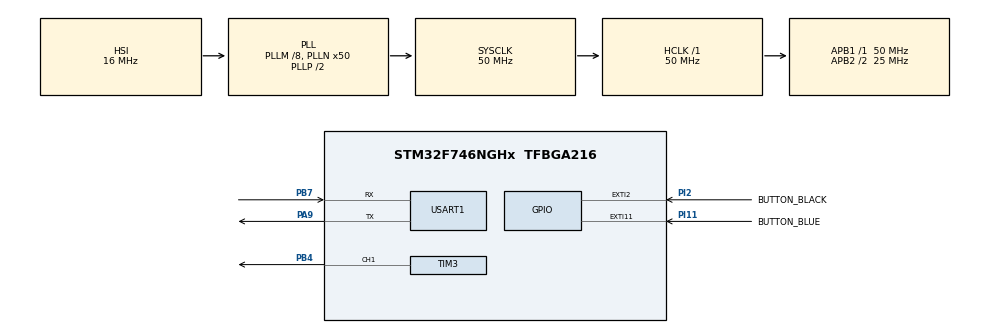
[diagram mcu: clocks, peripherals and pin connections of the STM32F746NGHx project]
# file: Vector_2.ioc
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FREERTOS.Mutexes01=Vector,Dynamic,NULL
FREERTOS.Tasks01=defaultTask,0,512,StartDefaultTask,Default,NULL,Dynamic,NULL,NULL;Printer,0,512,StartPrinter,Default,NULL,Dynamic,NULL,NULL;PushBack,0,512,StartPushBack,Default,NULL,Dynamic,NULL,NULL;PopBack,0,512,StartPopBack,Default,NULL,Dynamic,NULL,NULL;EraseTask,0,512,StartEraseTask,Default,NULL,Dynamic,NULL,NULL;Average,0,512,StartAverage,Default,NULL,Dynamic,NULL,NULL
Mcu.Family=STM32F7
Mcu.Name=STM32F746NGHx
Mcu.Package=TFBGA216
NVIC.EXTI15_10_IRQn=true\:6\:0\:true\:false\:true\:false\:true\:true
NVIC.EXTI2_IRQn=true\:6\:0\:true\:false\:true\:false\:true\:true
NVIC.PriorityGroup=NVIC_PRIORITYGROUP_4
NVIC.TIM5_IRQn=true\:6\:0\:true\:false\:true\:true\:true\:true
NVIC.TIM8_TRG_COM_TIM14_IRQn=true\:0\:0\:false\:false\:true\:false\:false\:true
NVIC.TimeBase=TIM8_TRG_COM_TIM14_IRQn
NVIC.TimeBaseIP=TIM14
PA13.Mode=Serial_Wire
PA13.Signal=SYS_JTMS-SWDIO
PA14.Mode=Serial_Wire
PA14.Signal=SYS_JTCK-SWCLK
PA9.Mode=Asynchronous
PA9.Signal=USART1_TX
PB4.Signal=S_TIM3_CH1
PB7.Mode=Asynchronous
PB7.Signal=USART1_RX
PC14/OSC32_IN.Mode=LSE-External-Clock-Source
PC14/OSC32_IN.Signal=RCC_OSC32_IN
PC15/OSC32_OUT.Mode=LSE-External-Clock-Source
PC15/OSC32_OUT.Signal=RCC_OSC32_OUT
PH0/OSC_IN.Mode=HSE-External-Oscillator
PH0/OSC_IN.Signal=RCC_OSC_IN
PH1/OSC_OUT.Mode=HSE-External-Oscillator
PH1/OSC_OUT.Signal=RCC_OSC_OUT
PI11.GPIO_Label=BUTTON_BLUE
PI11.GPIO_PuPd=GPIO_PULLDOWN
PI11.Signal=GPXTI11
PI2.GPIO_Label=BUTTON_BLACK
PI2.GPIO_ModeDefaultEXTI=GPIO_MODE_IT_RISING_FALLING
PI2.GPIO_PuPd=GPIO_PULLDOWN
PI2.Signal=GPXTI2
ProjectManager.HeapSize=0x200
ProjectManager.StackSize=0x400
ProjectManager.TargetToolchain=STM32CubeIDE
RCC.AHBFreq_Value=50000000
RCC.APB1Freq_Value=50000000
RCC.APB1TimFreq_Value=50000000
RCC.APB2CLKDivider=RCC_HCLK_DIV2
RCC.APB2Freq_Value=25000000
RCC.APB2TimFreq_Value=50000000
RCC.CortexFreq_Value=50000000
RCC.HCLKFreq_Value=50000000
RCC.HSE_VALUE=25000000
RCC.HSI_VALUE=16000000
RCC.LSE_VALUE=32768
RCC.PLLM=8
RCC.PLLN=50
RCC.PLLQ=3
RCC.PLLSourceVirtual=RCC_PLLSOURCE_HSI
RCC.SYSCLKFreq_VALUE=50000000
RCC.SYSCLKSource=RCC_SYSCLKSOURCE_PLLCLK
RCC.USBFreq_Value=33333333.333333332
RCC.VCOOutputFreq_Value=100000000
SH.S_TIM3_CH1.0=TIM3_CH1,PWM Generation1 CH1
TIM3.Channel-PWM\ Generation1\ CH1=TIM_CHANNEL_1
TIM3.Period=100
TIM3.Prescaler=500
TIM3.Pulse-PWM\ Generation1\ CH1=50
TIM5.Period=1000
TIM5.Prescaler=50000-1
USART1.VirtualMode-Asynchronous=VM_ASYNC
VP_FREERTOS_VS_CMSIS_V1.Mode=CMSIS_V1
VP_RNG_VS_RNG.Mode=RNG_Activate
VP_SYS_VS_tim14.Mode=TIM14
VP_TIM3_VS_ClockSourceINT.Mode=Internal
VP_TIM5_VS_ClockSourceINT.Mode=Internal
board=STM32F746G-DISCO

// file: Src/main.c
/* USER CODE BEGIN Header */
/**
 ******************************************************************************
 * @file           : main.c
 * @brief          : Main program body
 ******************************************************************************
 * @attention
 *
 * <h2><center>&copy; Copyright (c) 2019 STMicroelectronics.
 * All rights reserved.</center></h2>
 *
 * This software component is licensed by ST under BSD 3-Clause license,
 * the "License"; You may not use this file except in compliance with the
 * License. You may obtain a copy of the License at:
 *                        opensource.org/licenses/BSD-3-Clause
 *
 ******************************************************************************
 */
/* USER CODE END Header */

#include "main.h"
#include "cmsis_os.h"

/* USER CODE BEGIN Includes */
#include "vector.h"

/* USER CODE END Includes */

RNG_HandleTypeDef hrng;

TIM_HandleTypeDef htim3;
TIM_HandleTypeDef htim5;

UART_HandleTypeDef huart1;

osThreadId defaultTaskHandle;
osThreadId PrinterHandle;
osThreadId PushBackHandle;
osThreadId PopBackHandle;
osThreadId EraseTaskHandle;
osThreadId AverageHandle;
osMutexId VectorHandle;
/* USER CODE BEGIN PV */
vector_t vector;

int prev_start_time;

uint8_t prog_state = 0;

int time_counter = 0;

/* USER CODE END PV */

void SystemClock_Config(void);
static void MX_GPIO_Init(void);
static void MX_RNG_Init(void);
static void MX_USART1_UART_Init(void);
static void MX_TIM5_Init(void);
static void MX_TIM3_Init(void);
void StartDefaultTask(void const * argument);
void StartPrinter(void const * argument);
void StartPushBack(void const * argument);
void StartPopBack(void const * argument);
void StartEraseTask(void const * argument);
void StartAverage(void const * argument);

int main(void)
{
  /* USER CODE BEGIN 1 */
	init(&vector);

  /* USER CODE END 1 */

  /* MCU Configuration--------------------------------------------------------*/

  /* Reset of all peripherals, Initializes the Flash interface and the Systick. */
  HAL_Init();

  /* Configure the system clock */
  SystemClock_Config();

  /* Initialize all configured peripherals */
  MX_GPIO_Init();
  MX_RNG_Init();
  MX_USART1_UART_Init();
  MX_TIM5_Init();
  MX_TIM3_Init();
  /* USER CODE BEGIN 2 */
	HAL_TIM_Base_Start_IT(&htim5);
HAL_TIM_PWM_Start_IT(&htim3, TIM_CHANNEL_1);

  /* USER CODE END 2 */

  /* Create the mutex(es) */
  /* definition and creation of Vector */
  osMutexDef(Vector);
  VectorHandle = osMutexCreate(osMutex(Vector));

  /* Create the thread(s) */
  /* definition and creation of defaultTask */
  osThreadDef(defaultTask, StartDefaultTask, osPriorityNormal, 0, 512);
  defaultTaskHandle = osThreadCreate(osThread(defaultTask), NULL);

  /* definition and creation of Printer */
  osThreadDef(Printer, StartPrinter, osPriorityNormal, 0, 512);
  PrinterHandle = osThreadCreate(osThread(Printer), NULL);

  /* definition and creation of PushBack */
  osThreadDef(PushBack, StartPushBack, osPriorityNormal, 0, 512);
  PushBackHandle = osThreadCreate(osThread(PushBack), NULL);

  /* definition and creation of PopBack */
  osThreadDef(PopBack, StartPopBack, osPriorityNormal, 0, 512);
  PopBackHandle = osThreadCreate(osThread(PopBack), NULL);

  /* definition and creation of EraseTask */
  osThreadDef(EraseTask, StartEraseTask, osPriorityNormal, 0, 512);
  EraseTaskHandle = osThreadCreate(osThread(EraseTask), NULL);

  /* definition and creation of Average */
  osThreadDef(Average, StartAverage, osPriorityNormal, 0, 512);
  AverageHandle = osThreadCreate(osThread(Average), NULL);

  /* Start scheduler */
  osKernelStart();

  /* We should never get here as control is now taken by the scheduler */

  /* Infinite loop */
	while (1) {

	}
}

void SystemClock_Config(void)
{
  RCC_OscInitTypeDef RCC_OscInitStruct = {0};
  RCC_ClkInitTypeDef RCC_ClkInitStruct = {0};
  RCC_PeriphCLKInitTypeDef PeriphClkInitStruct = {0};

  /** Configure the main internal regulator output voltage
  */
  __HAL_RCC_PWR_CLK_ENABLE();
  __HAL_PWR_VOLTAGESCALING_CONFIG(PWR_REGULATOR_VOLTAGE_SCALE3);
  /** Initializes the CPU, AHB and APB busses clocks
  */
  RCC_OscInitStruct.OscillatorType = RCC_OSCILLATORTYPE_HSI;
  RCC_OscInitStruct.HSIState = RCC_HSI_ON;
  RCC_OscInitStruct.HSICalibrationValue = RCC_HSICALIBRATION_DEFAULT;
  RCC_OscInitStruct.PLL.PLLState = RCC_PLL_ON;
  RCC_OscInitStruct.PLL.PLLSource = RCC_PLLSOURCE_HSI;
  RCC_OscInitStruct.PLL.PLLM = 8;
  RCC_OscInitStruct.PLL.PLLN = 50;
  RCC_OscInitStruct.PLL.PLLP = RCC_PLLP_DIV2;
  RCC_OscInitStruct.PLL.PLLQ = 3;
  if (HAL_RCC_OscConfig(&RCC_OscInitStruct) != HAL_OK)
  {
    Error_Handler();
  }
  /** Activate the Over-Drive mode
  */
  if (HAL_PWREx_EnableOverDrive() != HAL_OK)
  {
    Error_Handler();
  }
  /** Initializes the CPU, AHB and APB busses clocks
  */
  RCC_ClkInitStruct.ClockType = RCC_CLOCKTYPE_HCLK|RCC_CLOCKTYPE_SYSCLK
                              |RCC_CLOCKTYPE_PCLK1|RCC_CLOCKTYPE_PCLK2;
  RCC_ClkInitStruct.SYSCLKSource = RCC_SYSCLKSOURCE_PLLCLK;
  RCC_ClkInitStruct.AHBCLKDivider = RCC_SYSCLK_DIV1;
  RCC_ClkInitStruct.APB1CLKDivider = RCC_HCLK_DIV1;
  RCC_ClkInitStruct.APB2CLKDivider = RCC_HCLK_DIV2;

  if (HAL_RCC_ClockConfig(&RCC_ClkInitStruct, FLASH_LATENCY_1) != HAL_OK)
  {
    Error_Handler();
  }
  PeriphClkInitStruct.PeriphClockSelection = RCC_PERIPHCLK_USART1|RCC_PERIPHCLK_CLK48;
  PeriphClkInitStruct.Usart1ClockSelection = RCC_USART1CLKSOURCE_PCLK2;
  PeriphClkInitStruct.Clk48ClockSelection = RCC_CLK48SOURCE_PLL;
  if (HAL_RCCEx_PeriphCLKConfig(&PeriphClkInitStruct) != HAL_OK)
  {
    Error_Handler();
  }
}

static void MX_RNG_Init(void)
{

  hrng.Instance = RNG;
  if (HAL_RNG_Init(&hrng) != HAL_OK)
  {
    Error_Handler();
  }

}

static void MX_TIM3_Init(void)
{

  TIM_ClockConfigTypeDef sClockSourceConfig = {0};
  TIM_MasterConfigTypeDef sMasterConfig = {0};
  TIM_OC_InitTypeDef sConfigOC = {0};

  htim3.Instance = TIM3;
  htim3.Init.Prescaler = 500;
  htim3.Init.CounterMode = TIM_COUNTERMODE_UP;
  htim3.Init.Period = 100;
  htim3.Init.ClockDivision = TIM_CLOCKDIVISION_DIV1;
  htim3.Init.AutoReloadPreload = TIM_AUTORELOAD_PRELOAD_DISABLE;
  if (HAL_TIM_Base_Init(&htim3) != HAL_OK)
  {
    Error_Handler();
  }
  sClockSourceConfig.ClockSource = TIM_CLOCKSOURCE_INTERNAL;
  if (HAL_TIM_ConfigClockSource(&htim3, &sClockSourceConfig) != HAL_OK)
  {
    Error_Handler();
  }
  if (HAL_TIM_PWM_Init(&htim3) != HAL_OK)
  {
    Error_Handler();
  }
  sMasterConfig.MasterOutputTrigger = TIM_TRGO_RESET;
  sMasterConfig.MasterSlaveMode = TIM_MASTERSLAVEMODE_DISABLE;
  if (HAL_TIMEx_MasterConfigSynchronization(&htim3, &sMasterConfig) != HAL_OK)
  {
    Error_Handler();
  }
  sConfigOC.OCMode = TIM_OCMODE_PWM1;
  sConfigOC.Pulse = 50;
  sConfigOC.OCPolarity = TIM_OCPOLARITY_HIGH;
  sConfigOC.OCFastMode = TIM_OCFAST_DISABLE;
  if (HAL_TIM_PWM_ConfigChannel(&htim3, &sConfigOC, TIM_CHANNEL_1) != HAL_OK)
  {
    Error_Handler();
  }
  HAL_TIM_MspPostInit(&htim3);

}

static void MX_TIM5_Init(void)
{

  TIM_ClockConfigTypeDef sClockSourceConfig = {0};
  TIM_MasterConfigTypeDef sMasterConfig = {0};

  htim5.Instance = TIM5;
  htim5.Init.Prescaler = 50000-1;
  htim5.Init.CounterMode = TIM_COUNTERMODE_UP;
  htim5.Init.Period = 1000;
  htim5.Init.ClockDivision = TIM_CLOCKDIVISION_DIV1;
  htim5.Init.AutoReloadPreload = TIM_AUTORELOAD_PRELOAD_DISABLE;
  if (HAL_TIM_Base_Init(&htim5) != HAL_OK)
  {
    Error_Handler();
  }
  sClockSourceConfig.ClockSource = TIM_CLOCKSOURCE_INTERNAL;
  if (HAL_TIM_ConfigClockSource(&htim5, &sClockSourceConfig) != HAL_OK)
  {
    Error_Handler();
  }
  sMasterConfig.MasterOutputTrigger = TIM_TRGO_RESET;
  sMasterConfig.MasterSlaveMode = TIM_MASTERSLAVEMODE_DISABLE;
  if (HAL_TIMEx_MasterConfigSynchronization(&htim5, &sMasterConfig) != HAL_OK)
  {
    Error_Handler();
  }

}

static void MX_USART1_UART_Init(void)
{

  huart1.Instance = USART1;
  huart1.Init.BaudRate = 115200;
  huart1.Init.WordLength = UART_WORDLENGTH_8B;
  huart1.Init.StopBits = UART_STOPBITS_1;
  huart1.Init.Parity = UART_PARITY_NONE;
  huart1.Init.Mode = UART_MODE_TX_RX;
  huart1.Init.HwFlowCtl = UART_HWCONTROL_NONE;
  huart1.Init.OverSampling = UART_OVERSAMPLING_16;
  huart1.Init.OneBitSampling = UART_ONE_BIT_SAMPLE_DISABLE;
  huart1.AdvancedInit.AdvFeatureInit = UART_ADVFEATURE_NO_INIT;
  if (HAL_UART_Init(&huart1) != HAL_OK)
  {
    Error_Handler();
  }

}

static void MX_GPIO_Init(void)
{
  GPIO_InitTypeDef GPIO_InitStruct = {0};

  /* GPIO Ports Clock Enable */
  __HAL_RCC_GPIOB_CLK_ENABLE();
  __HAL_RCC_GPIOA_CLK_ENABLE();
  __HAL_RCC_GPIOI_CLK_ENABLE();
  __HAL_RCC_GPIOC_CLK_ENABLE();
  __HAL_RCC_GPIOH_CLK_ENABLE();

  /*Configure GPIO pin : BUTTON_BLACK_Pin */
  GPIO_InitStruct.Pin = BUTTON_BLACK_Pin;
  GPIO_InitStruct.Mode = GPIO_MODE_IT_RISING_FALLING;
  GPIO_InitStruct.Pull = GPIO_PULLDOWN;
  HAL_GPIO_Init(BUTTON_BLACK_GPIO_Port, &GPIO_InitStruct);

  /*Configure GPIO pin : BUTTON_BLUE_Pin */
  GPIO_InitStruct.Pin = BUTTON_BLUE_Pin;
  GPIO_InitStruct.Mode = GPIO_MODE_IT_RISING;
  GPIO_InitStruct.Pull = GPIO_PULLDOWN;
  HAL_GPIO_Init(BUTTON_BLUE_GPIO_Port, &GPIO_InitStruct);

  /* EXTI interrupt init*/
  HAL_NVIC_SetPriority(EXTI2_IRQn, 6, 0);
  HAL_NVIC_EnableIRQ(EXTI2_IRQn);

  HAL_NVIC_SetPriority(EXTI15_10_IRQn, 6, 0);
  HAL_NVIC_EnableIRQ(EXTI15_10_IRQn);

}

/* USER CODE BEGIN 4 */

int __io_putchar(int ch) {
	HAL_UART_Transmit(&huart1, (uint8_t*) &ch, 1, 0xFFFF);
	return ch;
}

void HAL_GPIO_EXTI_Callback(uint16_t GPIO_Pin) {

	if (GPIO_Pin == BUTTON_BLACK_Pin) {
		if (HAL_GetTick() - 300 < prev_start_time) {
			return;
		}
		prev_start_time = HAL_GetTick();
		if (HAL_GPIO_ReadPin(BUTTON_BLACK_GPIO_Port, BUTTON_BLACK_Pin) == 1) {
			//printf("push\n");
			prog_state = 1;

		}
		if (HAL_GPIO_ReadPin(BUTTON_BLACK_GPIO_Port, BUTTON_BLACK_Pin) == 0) {
			//printf("release\n");
			prog_state = 0;
		}
	}

	if (GPIO_Pin == BUTTON_BLUE_Pin) {
		if (HAL_GetTick() - 300 < prev_start_time) {
			return;
		}
		prev_start_time = HAL_GetTick();
		//printf("push blue\n");
		osSignalSet(EraseTaskHandle, 1);
	}
}

/* USER CODE END 4 */

void StartDefaultTask(void const * argument)
{

	for (;;) {
		osDelay(1);
	}
}

void StartPrinter(void const * argument)
{
  /* USER CODE BEGIN StartPrinter */
	/* Infinite loop */
	for (;;) {
		osDelay(500);
		osMutexWait(VectorHandle, osWaitForever);
		print(&vector);
		osMutexRelease(VectorHandle);
		osDelay(500);
	}
  /* USER CODE END StartPrinter */
}

void StartPushBack(void const * argument)
{
  /* USER CODE BEGIN StartPushBack */
	/* Infinite loop */
	for (;;) {
		osDelay(500);
		if (prog_state == 1) {

			int random_number = HAL_RNG_GetRandomNumber(&hrng);

			osMutexWait(VectorHandle, osWaitForever);
			push_back(&vector, (abs(random_number)) % 100 + 1);
			osMutexRelease(VectorHandle);

		}
		osDelay(500);

	}
  /* USER CODE END StartPushBack */
}

void StartPopBack(void const * argument)
{
  /* USER CODE BEGIN StartPopBack */
	/* Infinite loop */
	for (;;) {

		//osDelay(1000);
		osSignalWait(1, osWaitForever);
		if (prog_state == 0) {
			osMutexWait(VectorHandle, osWaitForever);
			pop_back(&vector);
			osMutexRelease(VectorHandle);
		}

		//osDelay(1000);
	}
  /* USER CODE END StartPopBack */
}

void StartEraseTask(void const * argument)
{
  /* USER CODE BEGIN StartEraseTask */
	/* Infinite loop */
	for (;;) {
		osSignalWait(1, osWaitForever);
		osMutexWait(VectorHandle, osWaitForever);

		int vector_size = size(&vector);
		int random_number = HAL_RNG_GetRandomNumber(&hrng);
		int random_index = random_number % vector_size;
		erase(&vector, abs(random_index));
		printf("erase");

		osMutexRelease(VectorHandle);

	}
  /* USER CODE END StartEraseTask */
}

void StartAverage(void const * argument)
{
  /* USER CODE BEGIN StartAverage */
  /* Infinite loop */
  for(;;)
  {
	  osMutexWait(VectorHandle, osWaitForever);
	  int average_vector = average(&vector);
	  if (average_vector == -1) {
		average_vector = 0;
	}
	  __HAL_TIM_SET_COMPARE(&htim3, TIM_CHANNEL_1, average_vector);
	  osMutexRelease(VectorHandle);
	  osDelay(50);
  }
  /* USER CODE END StartAverage */
}

void HAL_TIM_PeriodElapsedCallback(TIM_HandleTypeDef *htim)
{
  /* USER CODE BEGIN Callback 0 */
	if (htim->Instance == TIM5) {
		if (time_counter == 1) {
			time_counter = 0;
			osSignalSet(PopBackHandle, 1);
		} else {
			time_counter = 1;
		}
	}

  /* USER CODE END Callback 0 */
  if (htim->Instance == TIM14) {
    HAL_IncTick();
  }
}

void Error_Handler(void)
{
}

/************************ (C) COPYRIGHT STMicroelectronics *****END OF FILE****/
